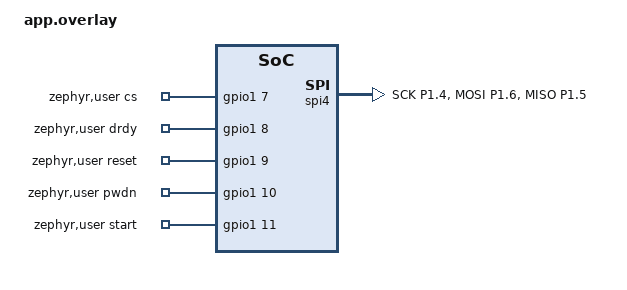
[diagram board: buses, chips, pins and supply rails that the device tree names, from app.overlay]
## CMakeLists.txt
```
cmake_minimum_required(VERSION 3.20.0)
find_package(Zephyr REQUIRED HINTS $ENV{ZEPHYR_BASE})
project(ads1299_nrf5340_dk)

set(ADS1299_CORE_DIR ${CMAKE_CURRENT_SOURCE_DIR}/../../../core_driver/ads1299)

target_include_directories(app PRIVATE
    ${ADS1299_CORE_DIR}
    ${CMAKE_CURRENT_SOURCE_DIR}/ads1299_port
)

target_sources(app PRIVATE
    zephyr_adapter/ads1299_zephyr_hal.c
    examples/main_ads1299.c
    ads1299_port/ads1299_spi.c
    ads1299_port/ads1299_gpio.c
    ads1299_port/ads1299_drdy.c
    ${ADS1299_CORE_DIR}/ads1299.c
    ${ADS1299_CORE_DIR}/ads1299_frame.c
    ${ADS1299_CORE_DIR}/ads1299_model.c
    ${ADS1299_CORE_DIR}/ads1299_multi.c
)
```

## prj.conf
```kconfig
CONFIG_GPIO=y
CONFIG_SPI=y
CONFIG_MAIN_STACK_SIZE=2048
CONFIG_SYSTEM_WORKQUEUE_STACK_SIZE=1024
CONFIG_PRINTK=n
CONFIG_LOG=n
CONFIG_CONSOLE=n
CONFIG_SERIAL=n
CONFIG_UART_CONSOLE=n
CONFIG_BOOT_BANNER=n
```

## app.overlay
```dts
/* Physical pin levels: Core handles active-low chip control semantics. */
/ {
    zephyr,user {
        cs-gpios = <&gpio1 7 GPIO_ACTIVE_HIGH>;
        drdy-gpios = <&gpio1 8 GPIO_ACTIVE_HIGH>;
        reset-gpios = <&gpio1 9 GPIO_ACTIVE_HIGH>;
        pwdn-gpios = <&gpio1 10 GPIO_ACTIVE_HIGH>;
        start-gpios = <&gpio1 11 GPIO_ACTIVE_HIGH>;
    };
};
&pinctrl {
    ads1299_spi_default: ads1299_spi_default {
        group1 {
            psels = <NRF_PSEL(SPIM_SCK, 1, 4)>,
                    <NRF_PSEL(SPIM_MOSI, 1, 6)>,
                    <NRF_PSEL(SPIM_MISO, 1, 5)>;
        };
    };
    ads1299_spi_sleep: ads1299_spi_sleep {
        group1 {
            psels = <NRF_PSEL(SPIM_SCK, 1, 4)>,
                    <NRF_PSEL(SPIM_MOSI, 1, 6)>,
                    <NRF_PSEL(SPIM_MISO, 1, 5)>;
            low-power-enable;
        };
    };
};
&spi4 {
    status = "okay";
    /delete-property/ cs-gpios;
    pinctrl-0 = <&ads1299_spi_default>;
    pinctrl-1 = <&ads1299_spi_sleep>;
    pinctrl-names = "default", "sleep";
};
```

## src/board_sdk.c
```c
#include "board_sdk.h"

#include <zephyr/device.h>
#include <zephyr/drivers/gpio.h>
#include <zephyr/kernel.h>

static const struct device *const gpio1 = DEVICE_DT_GET(DT_NODELABEL(gpio1));

/* Use Arduino D2..D10 on nRF5340 DK. Zephyr's board DTS maps these to
 * P1.04, P1.05, P1.06, P1.07, P1.08, P1.09, P1.10, P1.11 and P1.12. */
static const gpio_pin_t board_pins[] = {
    [BOARD_PIN_SCK] = 4u,
    [BOARD_PIN_MISO] = 5u,
    [BOARD_PIN_MOSI] = 6u,
    [BOARD_PIN_CS] = 7u,
    [BOARD_PIN_DRDY] = 8u,
    [BOARD_PIN_RESET] = 9u,
    [BOARD_PIN_PWDN] = 10u,
    [BOARD_PIN_START] = 11u,
    [BOARD_PIN_TX] = 12u,
};

static gpio_pin_t pin_number(board_sdk_pin_t pin)
{
    return board_pins[(unsigned int)pin];
}

static int configure_output(board_sdk_pin_t pin)
{
    return gpio_pin_configure(gpio1, pin_number(pin), GPIO_OUTPUT_INACTIVE);
}

static int configure_input(board_sdk_pin_t pin)
{
    return gpio_pin_configure(gpio1, pin_number(pin), GPIO_INPUT);
}

int board_sdk_init(void)
{
    if (!device_is_ready(gpio1)) {
        return -1;
    }

    if (configure_output(BOARD_PIN_SCK) != 0 ||
        configure_input(BOARD_PIN_MISO) != 0 ||
        configure_output(BOARD_PIN_MOSI) != 0 ||
        configure_output(BOARD_PIN_CS) != 0 ||
        configure_input(BOARD_PIN_DRDY) != 0 ||
        configure_output(BOARD_PIN_RESET) != 0 ||
        configure_output(BOARD_PIN_PWDN) != 0 ||
        configure_output(BOARD_PIN_START) != 0 ||
        configure_output(BOARD_PIN_TX) != 0) {
        return -1;
    }
    return 0;
}

void board_sdk_write_pin(board_sdk_pin_t pin, int level)
{
    (void)gpio_pin_set(gpio1, pin_number(pin), level != 0 ? 1 : 0);
}

int board_sdk_read_pin(board_sdk_pin_t pin)
{
    const int value = gpio_pin_get(gpio1, pin_number(pin));
    return value > 0 ? 1 : 0;
}

void board_sdk_delay_us(uint32_t us)
{
    k_busy_wait(us);
}

void board_sdk_fatal(const char *reason)
{
    (void)reason;
    for (;;) {
        (void)gpio_pin_set(gpio1, pin_number(BOARD_PIN_TX), 0);
        k_busy_wait(1000u);
    }
}
```
